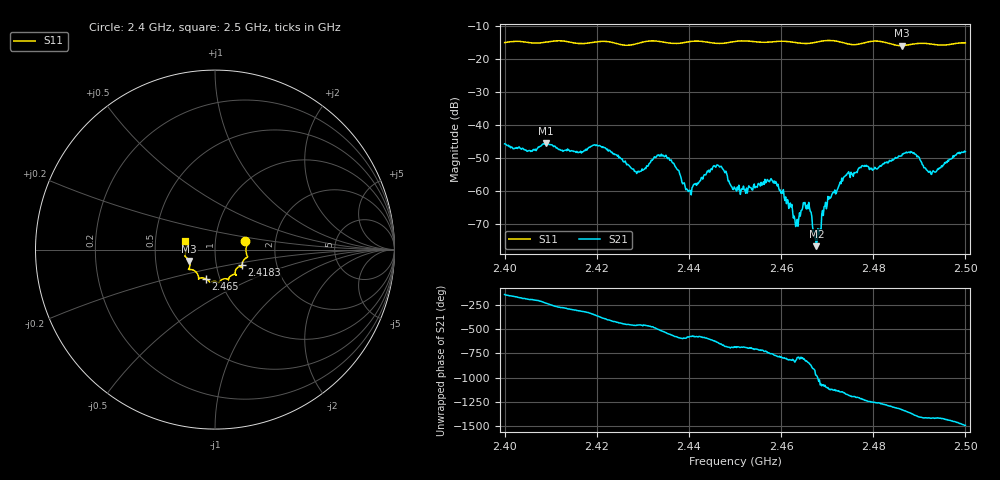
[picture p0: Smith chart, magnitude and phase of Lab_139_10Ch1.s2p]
# Hz S RI R 50
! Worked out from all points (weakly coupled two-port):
!   601 points, 2.4 GHz to 2.5 GHz, reference 50 ohm
!   highest |S21| = -45.68 dB at 2.409 GHz (marker M1); lowest = -76.8 dB at 2.4677 GHz (marker M2)
!   lowest |S11| = -16.1 dB at 2.4862 GHz (marker M3), VSWR 1.37, Z = 37.1 - j4.81 ohm
!   |S11| at or under -10 dB: start of sweep to end of sweep
!   S12 and S22 are empty: the file has one direction only
!   S11 on the Smith chart (normalised r, x): 2.4 GHz: 1.40, +0.13; 2.4183 GHz: 1.33, -0.24; 2.465 GHz: 0.86, -0.29; 2.5 GHz: 0.71, +0.07
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2.4e9  0.1694 0.046  -0.00407 -0.00312  0 0  0 0
2.409e9  0.1764 -0.0271  -0.00319 0.0041  0 0  0 0
2.416667e9  0.155 -0.0682  0.00263 0.00261  0 0  0 0
2.418333e9  0.1499 -0.0872  0.00402 0.00213  0 0  0 0
2.428667e9  0.1126 -0.1256  -0.000268 -0.0018  0 0  0 0
2.433333e9  0.1174 -0.141  -0.00271 -0.00207  0 0  0 0
2.436167e9  0.0981 -0.1403  -0.00275 0.000967  0 0  0 0
2.44e9  0.0759 -0.1638  -0.000719 0.000662  0 0  0 0
2.445833e9  0.0545 -0.1622  -0.000159 0.00225  0 0  0 0
2.45e9  0.0255 -0.1807  0.000905 0.000596  0 0  0 0
2.458333e9  -0.02 -0.1797  0.000996 -0.000851  0 0  0 0
2.463167e9  -0.0366 -0.1716  -6.76e-05 -0.000277  0 0  0 0
2.465e9  -0.0524 -0.1618  5.27e-05 -0.000632  0 0  0 0
2.466667e9  -0.0713 -0.1573  -0.000402 -6.33e-05  0 0  0 0
2.467667e9  -0.0811 -0.1583  -3.28e-05 0.00014  0 0  0 0
2.469833e9  -0.0917 -0.1645  0.000498 -0.000183  0 0  0 0
2.474167e9  -0.0953 -0.1402  -7.92e-05 -0.0017  0 0  0 0
2.483333e9  -0.1414 -0.0964  -0.0023 0.0014  0 0  0 0
2.486167e9  -0.144 -0.0632  -0.00111 0.00316  0 0  0 0
2.488667e9  -0.161 -0.0426  0.0018 0.00318  0 0  0 0
2.493e9  -0.1641 -0.0198  0.00183 0.000816  0 0  0 0
2.5e9  -0.1673 0.0469  0.00231 -0.00313  0 0  0 0
